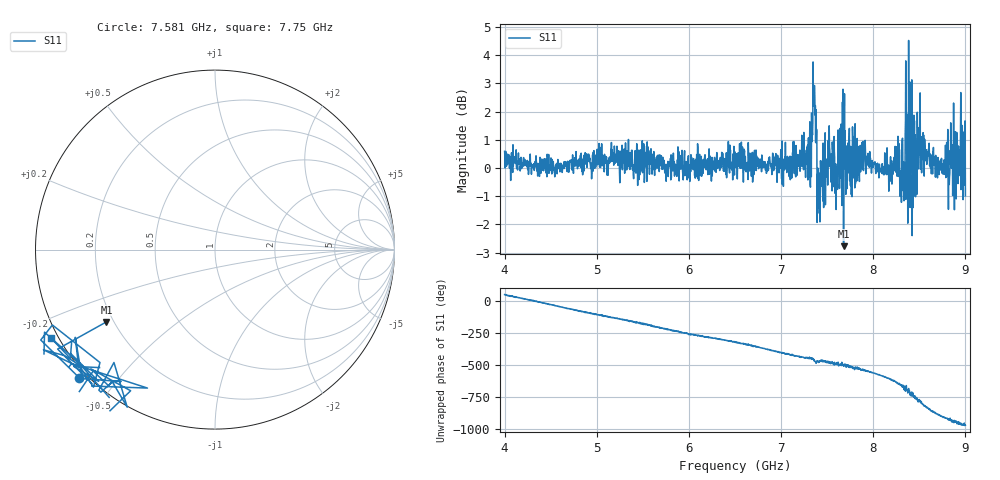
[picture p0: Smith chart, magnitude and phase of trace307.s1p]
! Created with skrf 1.8.0 (http://scikit-rf.org).
# Hz S RI R 50.0
!freq ReS11 ImS11
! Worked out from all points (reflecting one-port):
!   1601 points, 4 GHz to 9 GHz, reference 50 ohm
!   lowest |S11| = -2.8 dB at 7.678 GHz (marker M1), VSWR 6.32, Z = 8.61 - j14.7 ohm
!   phase of S11 starts at 54 deg and turns -1023 deg over the sweep
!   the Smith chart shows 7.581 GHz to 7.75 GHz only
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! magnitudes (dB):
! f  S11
! 4 GHz  0.6
! 4.625 GHz  -0.2
! 5.25 GHz  -0.5
! 5.875 GHz  0.3
! 6.5 GHz  0.2
! 7.125 GHz  0.5
! 7.294 GHz  0.6
! 7.356 GHz  2.9
! 7.369 GHz  1.9
! 7.416 GHz  -1.4
! 7.512 GHz  1.0
! 7.609 GHz  -0.4
! 7.65 GHz  1.6
! 7.678 GHz  -2.8
! 7.75 GHz  0.3
! 7.891 GHz  0.0
! 8.188 GHz  0.4
! 8.259 GHz  -0.3
! 8.312 GHz  1.0
! 8.334 GHz  -1.2
! 8.356 GHz  1.9
! 8.375 GHz  -2.0
! 8.431 GHz  -1.4
! 8.447 GHz  1.7
! 8.503 GHz  0.8
! 8.769 GHz  0.0
! 8.972 GHz  0.2
! 9 GHz  -1.0
